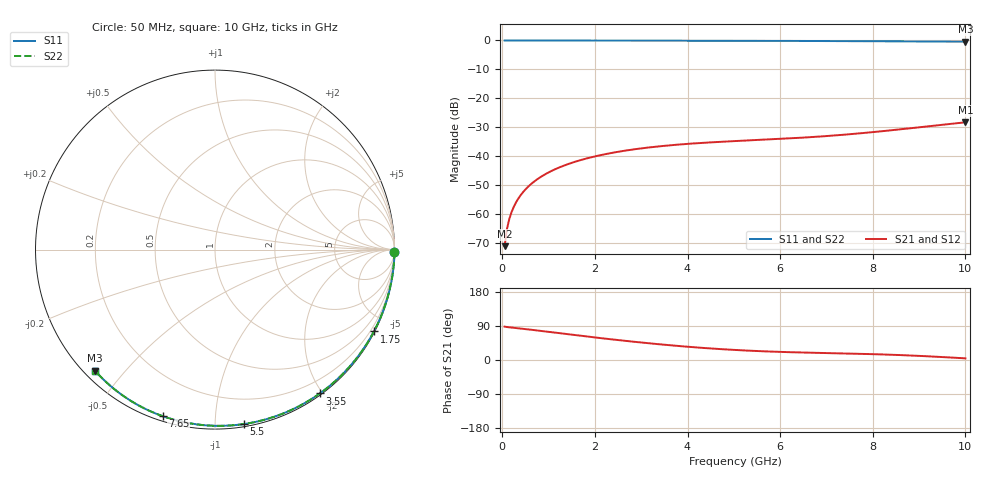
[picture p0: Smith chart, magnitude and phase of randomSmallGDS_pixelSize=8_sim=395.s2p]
! freq	dB(S11)	phase(S11)	dB(S12)	phase(S12)
!  dB(S21)	phase(S21)	dB(S22)	phase(S22)
!S-par simulation data
#  GHz  S  DB  R 50
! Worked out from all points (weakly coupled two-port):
!   200 points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, 50 MHz to 10 GHz, reference 50 ohm
!   highest |S21| = -28.31 dB at 10 GHz (marker M1); lowest = -71.2 dB at 50 MHz (marker M2)
!   lowest |S11| = -0.4 dB at 10 GHz (marker M3), VSWR 38.91, Z = 1.51 - j20.8 ohm
!   |S11| at or under -10 dB: nowhere
!   |S22| runs from -0.4 to 0.0 dB; largest |S21 - S12| = 0
!   S11 on the Smith chart (normalised r, x): 50 MHz: open; 1.75 GHz: 0.04, -4.12; 3.55 GHz: 0.02, -1.97; 5.5 GHz: 0.02, -1.18; 7.65 GHz: 0.02, -0.73; 10 GHz: 0.03, -0.42
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0.05  -0.00 -0.8  -71.16 88.0  -71.16 88.0  -0.00 -0.8
0.1  -0.00 -1.6  -65.28 87.0  -65.28 87.0  -0.00 -1.6
0.15  -0.00 -2.4  -61.84 86.3  -61.84 86.3  -0.00 -2.4
0.2  -0.00 -3.2  -59.39 85.7  -59.39 85.7  -0.00 -3.2
0.25  -0.00 -4.0  -57.48 85.1  -57.48 85.1  -0.00 -4.0
0.35  -0.00 -5.5  -54.59 83.8  -54.59 83.8  -0.00 -5.5
0.5  -0.01 -7.9  -51.53 81.6  -51.53 81.6  -0.01 -7.9
0.7  -0.01 -11.0  -48.66 78.7  -48.66 78.7  -0.01 -11.0
1  -0.02 -15.7  -45.65 74.2  -45.65 74.2  -0.02 -15.7
1.35  -0.03 -21.1  -43.17 68.9  -43.17 68.9  -0.03 -21.1
1.75  -0.03 -27.3  -41.12 63.1  -41.12 63.1  -0.03 -27.3
2.5  -0.05 -38.6  -38.51 52.6  -38.51 52.6  -0.05 -38.6
3.4  -0.07 -51.8  -36.61 41.4  -36.61 41.4  -0.07 -51.8
3.55  -0.07 -53.9  -36.38 39.7  -36.38 39.7  -0.07 -53.9
4.3  -0.09 -64.5  -35.45 32.2  -35.45 32.2  -0.09 -64.5
5.05  -0.11 -74.7  -34.79 26.3  -34.79 26.3  -0.11 -74.7
5.5  -0.13 -80.6  -34.44 23.7  -34.44 23.7  -0.13 -80.6
6.7  -0.18 -95.9  -33.41 19.1  -33.41 19.1  -0.18 -95.9
7.65  -0.24 -107.5  -32.23 16.6  -32.23 16.6  -0.24 -107.5
8.35  -0.29 -115.7  -31.15 14.1  -31.15 14.1  -0.29 -115.7
9.2  -0.36 -125.6  -29.70 9.7  -29.70 9.7  -0.36 -125.6
10  -0.45 -134.7  -28.31 4.4  -28.31 4.4  -0.45 -134.7
